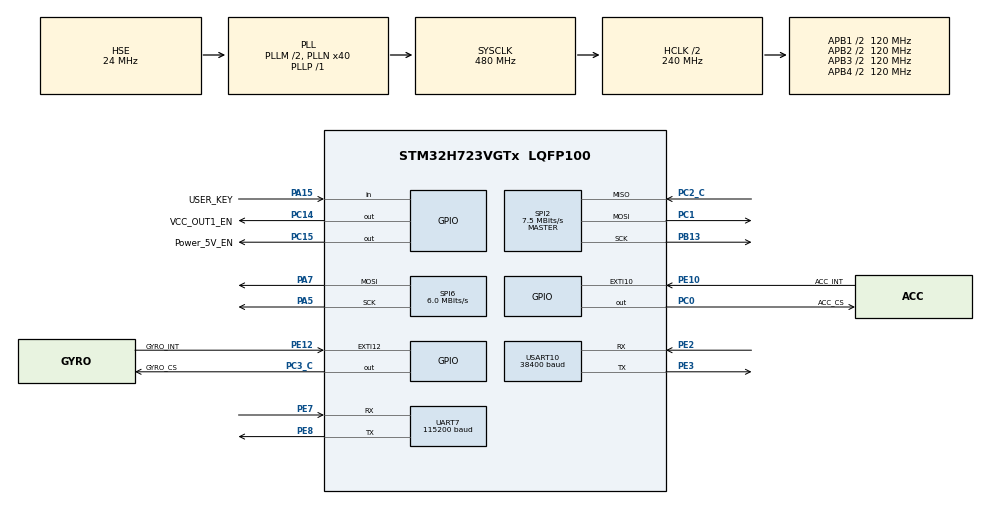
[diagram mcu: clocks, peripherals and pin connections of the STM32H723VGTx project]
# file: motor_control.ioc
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CORTEX_M7.default_mode_Activation=1
Dma.Request0=SPI2_RX
Dma.Request1=SPI2_TX
Dma.SPI2_RX.0.Direction=DMA_PERIPH_TO_MEMORY
Dma.SPI2_RX.0.EventEnable=DISABLE
Dma.SPI2_RX.0.FIFOMode=DMA_FIFOMODE_DISABLE
Dma.SPI2_RX.0.Instance=DMA1_Stream0
Dma.SPI2_RX.0.MemDataAlignment=DMA_MDATAALIGN_BYTE
Dma.SPI2_RX.0.MemInc=DMA_MINC_ENABLE
Dma.SPI2_RX.0.Mode=DMA_NORMAL
Dma.SPI2_RX.0.PeriphDataAlignment=DMA_PDATAALIGN_BYTE
Dma.SPI2_RX.0.PeriphInc=DMA_PINC_DISABLE
Dma.SPI2_RX.0.Polarity=HAL_DMAMUX_REQ_GEN_RISING
Dma.SPI2_RX.0.Priority=DMA_PRIORITY_VERY_HIGH
Dma.SPI2_RX.0.RequestNumber=1
Dma.SPI2_RX.0.SignalID=NONE
Dma.SPI2_RX.0.SyncEnable=DISABLE
Dma.SPI2_RX.0.SyncPolarity=HAL_DMAMUX_SYNC_NO_EVENT
Dma.SPI2_RX.0.SyncRequestNumber=1
Dma.SPI2_RX.0.SyncSignalID=NONE
Dma.SPI2_TX.1.Direction=DMA_MEMORY_TO_PERIPH
Dma.SPI2_TX.1.EventEnable=DISABLE
Dma.SPI2_TX.1.FIFOMode=DMA_FIFOMODE_DISABLE
Dma.SPI2_TX.1.Instance=DMA1_Stream1
Dma.SPI2_TX.1.MemDataAlignment=DMA_MDATAALIGN_BYTE
Dma.SPI2_TX.1.MemInc=DMA_MINC_ENABLE
Dma.SPI2_TX.1.Mode=DMA_NORMAL
Dma.SPI2_TX.1.PeriphDataAlignment=DMA_PDATAALIGN_BYTE
Dma.SPI2_TX.1.PeriphInc=DMA_PINC_DISABLE
Dma.SPI2_TX.1.Polarity=HAL_DMAMUX_REQ_GEN_RISING
Dma.SPI2_TX.1.Priority=DMA_PRIORITY_HIGH
Dma.SPI2_TX.1.RequestNumber=1
Dma.SPI2_TX.1.SignalID=NONE
Dma.SPI2_TX.1.SyncEnable=DISABLE
Dma.SPI2_TX.1.SyncPolarity=HAL_DMAMUX_SYNC_NO_EVENT
Dma.SPI2_TX.1.SyncRequestNumber=1
Dma.SPI2_TX.1.SyncSignalID=NONE
FREERTOS.Tasks01=defaultTask,24,512,StartDefaultTask,Default,NULL,Dynamic,NULL,NULL;motor_task,8,256,MotorTask,Default,NULL,Dynamic,NULL,NULL
FREERTOS.Timers01=motorPos,motorPosCallback,osTimerPeriodic,Default,NULL,Static,motorPosControlBlock
Mcu.Family=STM32H7
Mcu.Name=STM32H723VGTx
Mcu.Package=LQFP100
NVIC.DMA1_Stream0_IRQn=true\:5\:0\:false\:false\:true\:true\:false\:true\:true
NVIC.DMA1_Stream1_IRQn=true\:5\:0\:false\:false\:true\:true\:false\:true\:true
NVIC.PriorityGroup=NVIC_PRIORITYGROUP_4
NVIC.SPI2_IRQn=true\:5\:0\:false\:false\:true\:true\:false\:true\:true
NVIC.TIM6_DAC_IRQn=true\:15\:0\:false\:false\:true\:false\:false\:true\:true
NVIC.TimeBase=TIM6_DAC_IRQn
NVIC.TimeBaseIP=TIM6
PA13(JTMS/SWDIO).Mode=Serial_Wire
PA13(JTMS/SWDIO).Signal=DEBUG_JTMS-SWDIO
PA14(JTCK/SWCLK).Mode=Serial_Wire
PA14(JTCK/SWCLK).Signal=DEBUG_JTCK-SWCLK
PA15(JTDI).GPIO_Label=USER_KEY
PA15(JTDI).Signal=GPIO_Input
PA5.Mode=TX_Only_Simplex_Unidirect_Master
PA5.Signal=SPI6_SCK
PA7.GPIO_Speed=GPIO_SPEED_FREQ_VERY_HIGH
PA7.Mode=TX_Only_Simplex_Unidirect_Master
PA7.Signal=SPI6_MOSI
PB13.Mode=Full_Duplex_Master
PB13.Signal=SPI2_SCK
PC0.GPIO_Label=ACC_CS
PC0.GPIO_Speed=GPIO_SPEED_FREQ_VERY_HIGH
PC0.PinState=GPIO_PIN_SET
PC0.Signal=GPIO_Output
PC1.Mode=Full_Duplex_Master
PC1.Signal=SPI2_MOSI
PC14-OSC32_IN.GPIO_Label=VCC_OUT1_EN
PC14-OSC32_IN.PinState=GPIO_PIN_RESET
PC14-OSC32_IN.Signal=GPIO_Output
PC15-OSC32_OUT.GPIO_Label=Power_5V_EN
PC15-OSC32_OUT.PinState=GPIO_PIN_RESET
PC15-OSC32_OUT.Signal=GPIO_Output
PC2_C.Mode=Full_Duplex_Master
PC2_C.Signal=SPI2_MISO
PC3_C.GPIO_Label=GYRO_CS
PC3_C.GPIO_Speed=GPIO_SPEED_FREQ_VERY_HIGH
PC3_C.PinState=GPIO_PIN_SET
PC3_C.Signal=GPIO_Output
PE10.GPIO_Label=ACC_INT
PE10.Signal=GPXTI10
PE12.GPIO_Label=GYRO_INT
PE12.Signal=GPXTI12
PE2.Mode=Asynchronous
PE2.Signal=USART10_RX
PE3.GPIO_ModeDefaultPP=GPIO_MODE_AF_OD
PE3.Mode=Asynchronous
PE3.Signal=USART10_TX
PE7.Mode=Asynchronous
PE7.Signal=UART7_RX
PE8.Mode=Asynchronous
PE8.Signal=UART7_TX
PH0-OSC_IN.Mode=HSE-External-Oscillator
PH0-OSC_IN.Signal=RCC_OSC_IN
PH1-OSC_OUT.Mode=HSE-External-Oscillator
PH1-OSC_OUT.Signal=RCC_OSC_OUT
ProjectManager.HeapSize=0x200
ProjectManager.StackSize=0x400
ProjectManager.TargetToolchain=CMake
RCC.ADCFreq_Value=48375000
RCC.APB1Freq_Value=120000000
RCC.APB2Freq_Value=120000000
RCC.APB3Freq_Value=120000000
RCC.APB4Freq_Value=120000000
RCC.CortexFreq_Value=480000000
RCC.D1PPRE=RCC_APB3_DIV2
RCC.D2PPRE1=RCC_APB1_DIV2
RCC.D2PPRE2=RCC_APB2_DIV2
RCC.D3PPRE=RCC_APB4_DIV2
RCC.DIVM1=2
RCC.DIVN1=40
RCC.DIVP1=1
RCC.HCLKFreq_Value=240000000
RCC.HPRE=RCC_HCLK_DIV2
RCC.HSE_VALUE=24000000
RCC.PLLSourceVirtual=RCC_PLLSOURCE_HSE
RCC.SPI6CLockSelection=RCC_SPI6CLKSOURCE_HSE
RCC.SYSCLKFreq_VALUE=480000000
RCC.SYSCLKSource=RCC_SYSCLKSOURCE_PLLCLK
RCC.USBFreq_Value=240000000
SPI2.BaudRatePrescaler=SPI_BAUDRATEPRESCALER_32
SPI2.CLKPhase=SPI_PHASE_2EDGE
SPI2.CLKPolarity=SPI_POLARITY_HIGH
SPI2.CalculateBaudRate=7.5 MBits/s
SPI2.DataSize=SPI_DATASIZE_8BIT
SPI2.Direction=SPI_DIRECTION_2LINES
SPI2.Mode=SPI_MODE_MASTER
SPI2.VirtualType=VM_MASTER
SPI6.BaudRatePrescaler=SPI_BAUDRATEPRESCALER_4
SPI6.CLKPhase=SPI_PHASE_2EDGE
SPI6.CLKPolarity=SPI_POLARITY_LOW
SPI6.CalculateBaudRate=6.0 MBits/s
SPI6.DataSize=SPI_DATASIZE_8BIT
SPI6.Direction=SPI_DIRECTION_2LINES_TXONLY
SPI6.Mode=SPI_MODE_MASTER
SPI6.VirtualType=VM_MASTER
UART7.BaudRate=115200
USART10.BaudRate=38400
USART10.VirtualMode=VM_ASYNC
VP_FREERTOS_VS_CMSIS_V2.Mode=CMSIS_V2
VP_MEMORYMAP_VS_MEMORYMAP.Mode=CurAppReg
VP_SYS_VS_tim6.Mode=TIM6
board=custom

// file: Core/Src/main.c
/* USER CODE BEGIN Header */
/**
  ******************************************************************************
  * @file           : main.c
  * @brief          : Main program body
  ******************************************************************************
  * @attention
  *
  * Copyright (c) 2026 STMicroelectronics.
  * All rights reserved.
  *
  * This software is licensed under terms that can be found in the LICENSE file
  * in the root directory of this software component.
  * If no LICENSE file comes with this software, it is provided AS-IS.
  *
  ******************************************************************************
  */
/* USER CODE END Header */
#include "main.h"
#include "FreeRTOS.h"
#include "cmsis_os2.h"
#include "dma.h"
#include "spi.h"
#include "usart.h"
#include "gpio.h"

/* USER CODE BEGIN Includes */
#include "BMI088driver.h"
#include "ws2812.h"
#include "motor_power.h"    /* 电机电源开关（PC14 可控电源输出，高电平使能） */
#include "ota_layout.h"      /* OTA_APP_BASE：本镜像链接在哪个槽（见 STM32H723xG_slots.ld） */
#include "ota_trace.h"       /* 启动诊断（Debug 构建才输出，Release 里是空函数） */
/* USER CODE END Includes */

/* USER CODE BEGIN PD */

/* 电机相关的参数（MOTOR_COUNT / KEY_DEBOUNCE_MS / USER_KEY_PRESSED_LEVEL /
   轮询周期 ...）都搬到 Device/Motor/motor_ctrl.c 了，要改去那边改。
   这里只留 main.c 自己用得到的。 */

/* ---- 板载 WS2812 指示灯 ----
   颜色用枚举（见 ws2812.h 的 WS2812_COLOR_xxx），亮度不在主流程里设，
   用驱动里的"总亮度"默认值 WS2812_DEFAULT_BRIGHTNESS(32)——要调就改 ws2812.h 那个宏，
   或者开机时自己调 WS2812_SetBrightness()。
   点灯的状态机（MotorCtrl_LedNextColor）搬到了 Device/Motor/motor_ctrl.c，
   顺序不变：
   RED → GREEN → BLUE → YELLOW → CYAN → MAGENTA → WHITE → RED ...（跳过 OFF） */

/* 使能可控 5V 之后，等 5V 轨稳定再说：板载 WS2812（以及后面的 BMI088）都吃这一路。
   BMI088 数据手册要求 VDD 有效后加速度计 ~1ms、陀螺仪 ~30ms 才能访问，
   5V 轨上的滤波电容充电还需要更多时间，这里统一留 100ms。 */
#define POWER_5V_RAMP_UP_MS       100U

/* ---- 下面这些是 BMI088 的，流程暂时关掉了，先留着方便以后放开 ---- */

/* BMI088 初始化失败后的重试间隔，以及最多向串口报告多少次错误码 */
#define BMI088_INIT_RETRY_MS      200U
#define BMI088_INIT_LOG_ATTEMPTS  10U

/* 上位机(https://imu.steppeschool.com/)要求的是二进制包，固定 20 字节：
   2 字节同步头 0xAA 0xFF，后面 9 个 int16(小端)——
   加速度 xyz、陀螺 xyz、磁力 xyz。本板没有磁力计，磁力 3 轴固定填 0。
   同步头之前的字节(比如下面的初始化错误文本)上位机会直接丢掉，不用特意清空。 */
#define BMI088_PACKET_SYNC1       0xAAU
#define BMI088_PACKET_SYNC2       0xFFU
#define BMI088_PACKET_SIZE        20U

/* USER CODE END PD */

/* USER CODE BEGIN PV */

/* 业务都在 FreeRTOS 任务里了，见 Device/Motor/ 下的 motor_io.c / motor_ctrl.c。
   main.c 只负责：外设初始化 → 5V 上电时序 → 启动调度器。 */

/* USER CODE END PV */

void SystemClock_Config(void);
static void MPU_Config(void);
void MX_FREERTOS_Init(void);
/* USER CODE BEGIN PFP */
#if 0 /* BMI088 打包用的小工具，数据暂时不发 */
static void packet_put_int16(uint8_t *dst, int16_t value);
#endif

/* USER CODE END PFP */

/* USER CODE BEGIN 0 */
int16_t gyro_raw[3], accel_raw[3], temp_raw;

#if 0 /* ===== BMI088 流程暂时关掉，后面要放开时把 #if 0 改成 #if 1 ===== */
static void packet_put_int16(uint8_t *dst, int16_t value)
{
  dst[0] = (uint8_t)(value & 0xFF);
  dst[1] = (uint8_t)((value >> 8) & 0xFF);
}
#endif /* BMI088 */
/* USER CODE END 0 */

int main(void)
{

  /* USER CODE BEGIN 1 */

  /* 启动诊断（只在 Debug 构建里输出，见 Device/Ota/inc/ota_trace.h）：
     它自己先把 USART1 配好（不依赖后面的 HAL/UART 初始化），
     之后每过一步打一个字母。从 Bootloader 跳过来一片安静时，
     串口上最后看到哪个字母，就知道卡在哪一句。 */
  OtaTrace_Init();
  OtaTrace_Text("[app] A: enter main (raw USART1 trace up)\r\n");

  /* ⚠ 必须在任何中断使能之前，把向量表指到**本镜像所在的那个槽**：
     H7 复位时 Flash 被硬件镜像到 0x00000000，而 system_stm32h7xx.c 里
     SCB->VTOR 那句被 #if defined(USER_VECT_TAB_ADDRESS) 包着、默认**不执行**，
     所以 VTOR 一直是复位值 0。从 Bootloader 跳过来时它指的是 Flash 里的
     0x08000000（= BL 自己的向量表），不改的话所有中断都会跑到 BL 的 handler 里去
     （HAL_Delay 卡死、FreeRTOS 不调度）。
     槽基址由链接脚本的 --defsym APP_BASE 给出。 */
  SCB->VTOR = OTA_APP_BASE;
  OtaTrace_Text("[app] B: VTOR = slot base\r\n");

  /* USER CODE END 1 */

  /* MPU Configuration--------------------------------------------------------*/
  MPU_Config();

  /* MCU Configuration--------------------------------------------------------*/

  /* Reset of all peripherals, Initializes the Flash interface and the Systick. */
  HAL_Init();

  /* USER CODE BEGIN Init */

  /* 能打到这里 = MPU_Config() + HAL_Init() 都过了。
     注意 HAL 的时基是 **TIM6**（不是 SysTick，SysTick 留给 FreeRTOS 当调度节拍）：
     TIM6 不工作的话下面 HAL_Delay 会一直转（后面的标记就打不出来） */
  OtaTrace_Text("[app] C: MPU + HAL_Init ok (TIM6 timebase)\r\n");

  /* USER CODE END Init */

  /* Configure the system clock */
  SystemClock_Config();

  /* USER CODE BEGIN SysInit */

  /* 能打到这里 = HSE / PLL / VOSRDY 都过了 */
  OtaTrace_Text("[app] D: SystemClock_Config ok\r\n");

  /* USER CODE END SysInit */

  /* Initialize all configured peripherals */
  MX_GPIO_Init();
  MX_DMA_Init();
  MX_UART7_Init();
  MX_SPI2_Init();
  MX_SPI6_Init();
  MX_USART10_UART_Init();

  /* USER CODE BEGIN 2 */

  /* 五个外设的 HAL 初始化都过了；下一个可能卡死的是 HAL_Delay（要 TIM6 中断） */
  OtaTrace_Text("[app] E: MX_*_Init ok\r\n");

  /* 电机电源（PC14）：**上电默认关断**。趁早把它配成推挽输出并拉低 ——
     复位后到配好之前，那根使能线是悬空的（高电平就会上电），越早配越安全。
     真正的使能在“按 USER_KEY / 无线 ctrl enable”时才做。
     注意它是和板载 5V（PC15）**两路独立**的供电：5V 给 WS2812/BMI088，
     PC14 这路给电机（及其驱动板）。 */
  MotorPwr_Init();

  /* 使能可控 5V：板载 WS2812 指示灯由这一路供电，上电默认是关的 */
  HAL_GPIO_WritePin(Power_5V_EN_GPIO_Port, Power_5V_EN_Pin, GPIO_PIN_SET);

  /* 等 5V 轨爬升稳定 */
  HAL_Delay(POWER_5V_RAMP_UP_MS);

  /* 5V 有了再发一帧全灭：MCU 单独复位时灯珠会保留上一次的颜色 */
  WS2812_Ctrl(0U, 0U, 0U);

  OtaTrace_Text("[app] F: 5V on + WS2812 ok (HAL_Delay 也过了)\r\n");

  /* ⚠ 电机挂在 USART10 上：PE2 = RX、PE3 = TX，38400 8N1（见 usart.c）。
     PE3 (TX) 必须是开漏 (GPIO_MODE_AF_OD)：电机控制板是 5V TTL 单总线，
     高电平靠总线上拉；TX 推挽会让输出 MOS 管常通，在总线上误发信号。
     这个 Mode 是 CubeMX 按 PE3 的 Output type 生成的，要改请在 CubeMX 里改。 */

  /* 业务相关的初始化（日志互斥、电机串口 + 请求队列、轮询任务/信号量）都在
     MX_FREERTOS_Init() 里做：那些对象要求 osKernelInitialize() 已经跑过。 */

  OtaTrace_Text("[app] G: main() done, calling osKernelInitialize()\r\n");

  /* USER CODE END 2 */

  /* Init scheduler */
  osKernelInitialize();  /* Call init function for freertos objects (in cmsis_os2.c) */
  MX_FREERTOS_Init();

  /* Start scheduler */
  osKernelStart();

  /* We should never get here as control is now taken by the scheduler */

  /* Infinite loop */
  /* USER CODE BEGIN WHILE */

  OtaTrace_Text("[app] !! osKernelStart returned (should never happen)\r\n");

  /* We should never get here as control is now taken by the scheduler */

  /* Infinite loop */
  /* USER CODE BEGIN WHILE */
  while (1)
  {
    /* USER CODE END WHILE */

    /* USER CODE BEGIN 3 */
#if 0 /* ---- 旧主循环：按键使能 + 200ms 状态轮询 ----
         已搬到 Device/Motor/：控制流程见 motor_ctrl.c 的 MotorCtrl_Task()，
         状态轮询见 MotorCtrl_PollTask()。留在这里备查，不再编译。 ---- */
    /* 等一次按键（PA15），按下后：给总线上每台电机各发一次使能指令
       （0xA0/0x08，只发一次、不重试），再把串口收到的 10 字节原样打到 UART7。 */
    Uart7_Print("press USER_KEY (PA15) to send enable ...\r\n");

    WaitUserKeyPress();

    key_round++;
    WS2812_SetColor(Motor_LedNextColor());   /* 按键已按下：换下一个颜色 */

    (void)snprintf(motor_line, sizeof(motor_line),
                   "key pressed (#%u), sending enable (0xA0/0x08)...\r\n",
                   (unsigned int)key_round);
    Uart7_Print(motor_line);

    uint8_t enabled_ok = 0U;

    for (uint8_t i = 0U; i < MOTOR_COUNT; i++)
    {
      /* 只发一次使能：Motor_Enable 内部收发各有 100ms 超时。
         注意：反馈里 DATA[2] 是**使能之后的实际模式**，不是回显 0x08 ——
         实测回帧 01 A1 01 00 00 00 00 00 00 E0，模式值 0x01 = 默认的电流环。
         所以只要收到合法的 0xA1 回帧，就说明使能指令被电机接受了。 */
      uint8_t ack_ok = Motor_Enable(motor_ids[i], &motor_enable_ack[i]);

      /* 不管成没成，都把 RX 收到的 10 字节原样打出来：
         全 0 = 一个字节都没收到（没接线/没上电/波特率不对），
         有数据但校验不过 = 波特率或 CRC 对不上（见 motor.h 的协议说明）。 */
      (void)snprintf(motor_line, sizeof(motor_line),
                     "id=%u enable sent, reply=%s, rx="
                     "%02X %02X %02X %02X %02X %02X %02X %02X %02X %02X\r\n",
                     (unsigned int)motor_ids[i], (ack_ok != 0U) ? "OK" : "NONE",
                     motor_enable_ack[i].raw[0], motor_enable_ack[i].raw[1],
                     motor_enable_ack[i].raw[2], motor_enable_ack[i].raw[3],
                     motor_enable_ack[i].raw[4], motor_enable_ack[i].raw[5],
                     motor_enable_ack[i].raw[6], motor_enable_ack[i].raw[7],
                     motor_enable_ack[i].raw[8], motor_enable_ack[i].raw[9]);
      Uart7_Print(motor_line);

      if (ack_ok != 0U)
      {
        (void)snprintf(motor_line, sizeof(motor_line),
                       "id=%u ack 0xA1 mode=0x%02X (%s)\r\n",
                       (unsigned int)motor_ids[i], motor_enable_ack[i].mode,
                       Motor_ModeName(motor_enable_ack[i].mode));
        Uart7_Print(motor_line);

        enabled_ok++;
      }
    }

    /* 每台都回了 0xA1 就点下一个颜色；否则保持当前颜色，再按一次重来 */
    if (enabled_ok == MOTOR_COUNT)
    {
      WS2812_SetColor(Motor_LedNextColor());

      uint8_t led_r = 0U;
      uint8_t led_g = 0U;
      uint8_t led_b = 0U;
      WS2812_GetOutput(&led_r, &led_g, &led_b);

      (void)snprintf(motor_line, sizeof(motor_line),
                     "enable OK. LED -> next color (%u,%u,%u), brightness=%u.\r\n",
                     (unsigned int)led_r, (unsigned int)led_g, (unsigned int)led_b,
                     (unsigned int)WS2812_GetBrightness());
      Uart7_Print(motor_line);

      /* ---- ① 版本号（0xFD -> 0xFE）：使能成功之后只查一次 ---- */
      for (uint8_t i = 0U; i < MOTOR_COUNT; i++)
      {
        MotorVersion version;
        uint8_t ver_ok = Motor_QueryVersion(motor_ids[i], &version);

        /* 没收到也把 10 字节原样打出来：全 0 = 一个字节都没收到 */
        (void)snprintf(motor_line, sizeof(motor_line),
                       "id=%u version query (0xFD): reply=%s, rx="
                       "%02X %02X %02X %02X %02X %02X %02X %02X %02X %02X\r\n",
                       (unsigned int)motor_ids[i], (ver_ok != 0U) ? "OK" : "NONE",
                       version.raw[0], version.raw[1], version.raw[2], version.raw[3],
                       version.raw[4], version.raw[5], version.raw[6], version.raw[7],
                       version.raw[8], version.raw[9]);
        Uart7_Print(motor_line);

        if (ver_ok != 0U)
        {
          /* 年字节是 20XX 的 XX（2021 年 = 0x15 = 十进制 21），所以按十进制打 */
          (void)snprintf(motor_line, sizeof(motor_line),
                         "id=%u version: date=20%02u-%02u-%02u, model=0x%02X, fw=0x%02X, hw=0x%02X\r\n",
                         (unsigned int)motor_ids[i],
                         (unsigned int)version.year, (unsigned int)version.month,
                         (unsigned int)version.day, (unsigned int)version.model,
                         (unsigned int)version.fw_version, (unsigned int)version.hw_version);
          Uart7_Print(motor_line);
        }
      }

      /* ---- ② 之后一直循环查里程/位置/故障码（0x74 -> 0x75），全部打在 UART7 ---- */
      Uart7_Print("enter status loop (0x74: mileage/position/fault) ...\r\n");

      while (1)
      {
        for (uint8_t i = 0U; i < MOTOR_COUNT; i++)
        {
          MotorStatus status;
          char fault_text[48];
          uint8_t st_ok = Motor_QueryStatus(motor_ids[i], &status);

          Motor_FaultText(status.fault, fault_text, sizeof(fault_text));

          /* 位置原始值 0~32767 对应 0~360°，要角度自己换算（x * 360 / 32767） */
          (void)snprintf(motor_line, sizeof(motor_line),
                         "id=%u status (0x74): reply=%s, mileage=%ld, position=%u, "
                         "fault=0x%02X (%s), rx="
                         "%02X %02X %02X %02X %02X %02X %02X %02X %02X %02X\r\n",
                         (unsigned int)motor_ids[i], (st_ok != 0U) ? "OK" : "NONE",
                         (long)status.mileage, (unsigned int)status.position,
                         (unsigned int)status.fault, fault_text,
                         status.raw[0], status.raw[1], status.raw[2], status.raw[3],
                         status.raw[4], status.raw[5], status.raw[6], status.raw[7],
                         status.raw[8], status.raw[9]);
          Uart7_Print(motor_line);
        }

        /* 每查完一轮换一个灯色 = 轮询心跳（也顺带确认主循环还活着） */
        WS2812_SetColor(Motor_LedNextColor());

        HAL_Delay(MOTOR_STATUS_POLL_MS);
      }
    }
#endif /* 旧主循环 */

#if 0 /* BMI088 的数据本轮先不发，要放开时把这里改回 #if 1，
         同时把 USER CODE 2 / USER CODE 0 里对应的 #if 0 一起打开。 */
    uint8_t bmi_packet[BMI088_PACKET_SIZE];

    BMI088_read_raw(accel_raw, gyro_raw, &temp_raw);

    /* 20 字节包：同步头 + 加速度 + 陀螺 + 磁力(本板没有，填 0)
       本板 BMI088 的贴装和网页参考板不同，这里对传感器数据做了一次轴向映射：
       X = -传感器 Y、Y = 传感器 X、Z 不变(加速度和陀螺用同一套映射)；
       网页本身还会对 ax/gy/gz 取反。如果 3D 模型的转向还是不对，
       就继续调这里 6 个分量的符号/顺序。 */
    bmi_packet[0] = BMI088_PACKET_SYNC1;
    bmi_packet[1] = BMI088_PACKET_SYNC2;
    packet_put_int16(&bmi_packet[2], (int16_t)(-accel_raw[1]));
    packet_put_int16(&bmi_packet[4], accel_raw[0]);
    packet_put_int16(&bmi_packet[6], accel_raw[2]);
    packet_put_int16(&bmi_packet[8], (int16_t)(-gyro_raw[1]));
    packet_put_int16(&bmi_packet[10], gyro_raw[0]);
    packet_put_int16(&bmi_packet[12], gyro_raw[2]);
    packet_put_int16(&bmi_packet[14], 0);
    packet_put_int16(&bmi_packet[16], 0);
    packet_put_int16(&bmi_packet[18], 0);

    if (HAL_UART_Transmit(&huart7, bmi_packet, BMI088_PACKET_SIZE, HAL_MAX_DELAY) != HAL_OK)
    {
      Error_Handler();
    }

    HAL_Delay(10);
#endif /* BMI088 */
  }
  /* USER CODE END 3 */
}

void SystemClock_Config(void)
{
  RCC_OscInitTypeDef RCC_OscInitStruct = {0};
  RCC_ClkInitTypeDef RCC_ClkInitStruct = {0};

  /** Supply configuration update enable
  */
  HAL_PWREx_ConfigSupply(PWR_LDO_SUPPLY);

  /** Configure the main internal regulator output voltage
  */
  __HAL_PWR_VOLTAGESCALING_CONFIG(PWR_REGULATOR_VOLTAGE_SCALE0);

  while(!__HAL_PWR_GET_FLAG(PWR_FLAG_VOSRDY)) {}

  /** Initializes the RCC Oscillators according to the specified parameters
  * in the RCC_OscInitTypeDef structure.
  */
  RCC_OscInitStruct.OscillatorType = RCC_OSCILLATORTYPE_HSE;
  RCC_OscInitStruct.HSEState = RCC_HSE_ON;
  RCC_OscInitStruct.PLL.PLLState = RCC_PLL_ON;
  RCC_OscInitStruct.PLL.PLLSource = RCC_PLLSOURCE_HSE;
  RCC_OscInitStruct.PLL.PLLM = 2;
  RCC_OscInitStruct.PLL.PLLN = 40;
  RCC_OscInitStruct.PLL.PLLP = 1;
  RCC_OscInitStruct.PLL.PLLQ = 2;
  RCC_OscInitStruct.PLL.PLLR = 2;
  RCC_OscInitStruct.PLL.PLLRGE = RCC_PLL1VCIRANGE_3;
  RCC_OscInitStruct.PLL.PLLVCOSEL = RCC_PLL1VCOWIDE;
  RCC_OscInitStruct.PLL.PLLFRACN = 0;
  if (HAL_RCC_OscConfig(&RCC_OscInitStruct) != HAL_OK)
  {
    Error_Handler();
  }

  /** Initializes the CPU, AHB and APB buses clocks
  */
  RCC_ClkInitStruct.ClockType = RCC_CLOCKTYPE_HCLK|RCC_CLOCKTYPE_SYSCLK
                              |RCC_CLOCKTYPE_PCLK1|RCC_CLOCKTYPE_PCLK2
                              |RCC_CLOCKTYPE_D3PCLK1|RCC_CLOCKTYPE_D1PCLK1;
  RCC_ClkInitStruct.SYSCLKSource = RCC_SYSCLKSOURCE_PLLCLK;
  RCC_ClkInitStruct.SYSCLKDivider = RCC_SYSCLK_DIV1;
  RCC_ClkInitStruct.AHBCLKDivider = RCC_HCLK_DIV2;
  RCC_ClkInitStruct.APB3CLKDivider = RCC_APB3_DIV2;
  RCC_ClkInitStruct.APB1CLKDivider = RCC_APB1_DIV2;
  RCC_ClkInitStruct.APB2CLKDivider = RCC_APB2_DIV2;
  RCC_ClkInitStruct.APB4CLKDivider = RCC_APB4_DIV2;

  if (HAL_RCC_ClockConfig(&RCC_ClkInitStruct, FLASH_LATENCY_3) != HAL_OK)
  {
    Error_Handler();
  }
}

 /* MPU Configuration */

void MPU_Config(void)
{
  MPU_Region_InitTypeDef MPU_InitStruct = {0};

  /* Disables the MPU */
  HAL_MPU_Disable();

  /** Initializes and configures the Region and the memory to be protected
  */
  MPU_InitStruct.Enable = MPU_REGION_ENABLE;
  MPU_InitStruct.Number = MPU_REGION_NUMBER0;
  MPU_InitStruct.BaseAddress = 0x0;
  MPU_InitStruct.Size = MPU_REGION_SIZE_4GB;
  MPU_InitStruct.SubRegionDisable = 0x87;
  MPU_InitStruct.TypeExtField = MPU_TEX_LEVEL0;
  MPU_InitStruct.AccessPermission = MPU_REGION_NO_ACCESS;
  MPU_InitStruct.DisableExec = MPU_INSTRUCTION_ACCESS_DISABLE;
  MPU_InitStruct.IsShareable = MPU_ACCESS_SHAREABLE;
  MPU_InitStruct.IsCacheable = MPU_ACCESS_NOT_CACHEABLE;
  MPU_InitStruct.IsBufferable = MPU_ACCESS_NOT_BUFFERABLE;

  HAL_MPU_ConfigRegion(&MPU_InitStruct);
  /* Enables the MPU */
  HAL_MPU_Enable(MPU_PRIVILEGED_DEFAULT);

}

void HAL_TIM_PeriodElapsedCallback(TIM_HandleTypeDef *htim)
{
  if (htim->Instance == TIM6)
  {
    HAL_IncTick();
  }
}

void Error_Handler(void)
{
  __disable_irq();
  while (1)
  {
  }
}

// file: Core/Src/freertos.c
/* USER CODE BEGIN Header */
/**
  ******************************************************************************
  * File Name          : freertos.c
  * Description        : Code for freertos applications
  ******************************************************************************
  * @attention
  *
  * Copyright (c) 2026 STMicroelectronics.
  * All rights reserved.
  *
  * This software is licensed under terms that can be found in the LICENSE file
  * in the root directory of this software component.
  * If no LICENSE file comes with this software, it is provided AS-IS.
  *
  ******************************************************************************
  */
/* USER CODE END Header */

#include "FreeRTOS.h"
#include "task.h"
#include "main.h"
#include "FreeRTOS.h"
#include "cmsis_os2.h"

/* USER CODE BEGIN Includes */
#include <stdio.h>
#include "usart.h"
#include "motor_io.h"
#include "motor_ctrl.h"
#include "uart_log.h"
#include "ota_com.h"
#include "ota_service.h"
#include "ota_trace.h"
/* USER CODE END Includes */

typedef StaticTimer_t osStaticTimerDef_t;

/* Definitions for defaultTask */
osThreadId_t defaultTaskHandle;
const osThreadAttr_t defaultTask_attributes = {
  .name = "defaultTask",
  .stack_size = 512 * 4,
  .priority = (osPriority_t) osPriorityNormal,
};
/* Definitions for motor_task */
osThreadId_t motor_taskHandle;
const osThreadAttr_t motor_task_attributes = {
  .name = "motor_task",
  .stack_size = 256 * 4,
  .priority = (osPriority_t) osPriorityLow,
};
/* Definitions for motorPos */
osTimerId_t motorPosHandle;
osStaticTimerDef_t motorPosControlBlock;
const osTimerAttr_t motorPos_attributes = {
  .name = "motorPos",
  .cb_mem = &motorPosControlBlock,
  .cb_size = sizeof(motorPosControlBlock),
};

/* 请求队列不在这里：它是收发层的东西，在 Device/Motor/motor_io.c 里
   随串口一起建（MotorIo_Init）。所以 CubeMX 的 FreeRTOS 配置里
   也不需要再配 motorQueue 了，别再加回来。 */

/* USER CODE BEGIN FunctionPrototypes */
/* 启动路标：把“走到哪一步”和“还剩多少 FreeRTOS 堆”一起打出来（只在 Debug 构建里真的输出） */
static void ota_boot_mark(const char *tag);
/* USER CODE END FunctionPrototypes */

void StartDefaultTask(void *argument);
void MotorTask(void *argument);
void motorPosCallback(void *argument);

void MX_FREERTOS_Init(void); /* (MISRA C 2004 rule 8.1) */

void MX_FREERTOS_Init(void) {
  /* USER CODE BEGIN Init */

  /* 无线口 USART1（PA9/PA10）：日志 + 控制帧 + OTA 三合一。
     先起串口，再把它挂成日志主口，最后才建 otaSvc 任务。
     ⚠ 每一步都打一个路标 + 剩余 FreeRTOS 堆：这几个 osXxxNew 全都从 FreeRTOS 堆里分配，
       堆不够时表现就是“卡在这里一声不吭”，有堆数字才能一眼看出来。 */
  OtaCom_Init(OTA_PORT_BAUD);
  ota_boot_mark("H1: USART1 up");

  /* 日志口：主口 = 无线口 USART1；板上有线的 UART7 顺便镜像一份（不接线也不影响）。
     不想要镜像就把 UartLog_AddSink(&huart7) 这行删掉。 */
  UartLog_Init(OtaCom_Handle());
  UartLog_AddSink(&huart7);
  ota_boot_mark("H2: log ready (mutex)");

  /* OTA 服务：建 otaSvc 任务（收帧/收固件），里面还会装 ota_host 的钩子 */
  OtaService_Init();
  ota_boot_mark("H3: otaSvc task");

  /* 电机串口（USART10 + 请求队列） */
  MotorIo_Init(&huart10);
  ota_boot_mark("H4: motor io (queue)");

  /* USER CODE END Init */

  /* Create the timer(s) */
  /* creation of motorPos */
  motorPosHandle = osTimerNew(motorPosCallback, osTimerPeriodic, NULL, &motorPos_attributes);

  /* USER CODE BEGIN RTOS_TIMERS */
  /* start timers, add new ones, ... */
  /* 状态轮询定时器：周期到了只释放信号量（回调在 timer service task 里跑，
     绝对不能阻塞），真正的收发由 MotorCtrl_PollTask 做。 */
  (void)osTimerStart(motorPosHandle, pdMS_TO_TICKS(MOTOR_CTRL_POLL_MS));
  ota_boot_mark("I1: poll timer started");
  /* USER CODE END RTOS_TIMERS */

  /* USER CODE BEGIN RTOS_QUEUES */
  /* add queues, ... */
  /* 请求队列在 MotorIo_Init() 里建（见上面 USER CODE Init） */
  /* USER CODE END RTOS_QUEUES */

  /* Create the thread(s) */
  /* creation of defaultTask */
  defaultTaskHandle = osThreadNew(StartDefaultTask, NULL, &defaultTask_attributes);

  /* creation of motor_task */
  motor_taskHandle = osThreadNew(MotorTask, NULL, &motor_task_attributes);

  /* USER CODE BEGIN RTOS_THREADS */
  /* add threads, ... */
  /* 轮询信号量 + 轮询任务（CubeMX 的线程列表里没有它，所以在这里建） */
  MotorCtrl_Init();

  ota_boot_mark("I2: all threads created -> start scheduler");
  /* USER CODE END RTOS_THREADS */

}

void StartDefaultTask(void *argument)
{
  /* USER CODE BEGIN StartDefaultTask */
  /* 主控制流程：使能 → 切位置环 → 0 点 / 3 点来回（不返回） */
  MotorCtrl_Task(argument);

  /* Infinite loop */
  for(;;)
  {
    osDelay(1);
  }
  /* USER CODE END StartDefaultTask */
}

void MotorTask(void *argument)
{
  /* USER CODE BEGIN MotorTask */
  /* 独占 USART10 的收发任务：从队列取请求 → 收发 → 通知发起者（不返回） */
  MotorIo_Task(argument);

  /* Infinite loop */
  for(;;)
  {
    osDelay(1);
  }
  /* USER CODE END MotorTask */
}

/* motorPosCallback function */
void motorPosCallback(void *argument)
{
  /* USER CODE BEGIN motorPosCallback */
  /* 只释放信号量，不阻塞（这里跑在 timer service task 里） */
  MotorCtrl_OnPollTimer();
  /* USER CODE END motorPosCallback */
}

/* USER CODE BEGIN Application */

/* 启动路标（Debug 构建里真的输出；Release 里整块被优化掉） */
static void ota_boot_mark(const char *tag)
{
#if defined(DEBUG)
  char line[96];

  (void)snprintf(line, sizeof(line), "[app] %s [free heap=%lu]\r\n",
                 tag, (unsigned long)xPortGetFreeHeapSize());
  OtaTrace_Text(line);
#else
  (void)tag;
#endif
}

/* USER CODE END Application */
